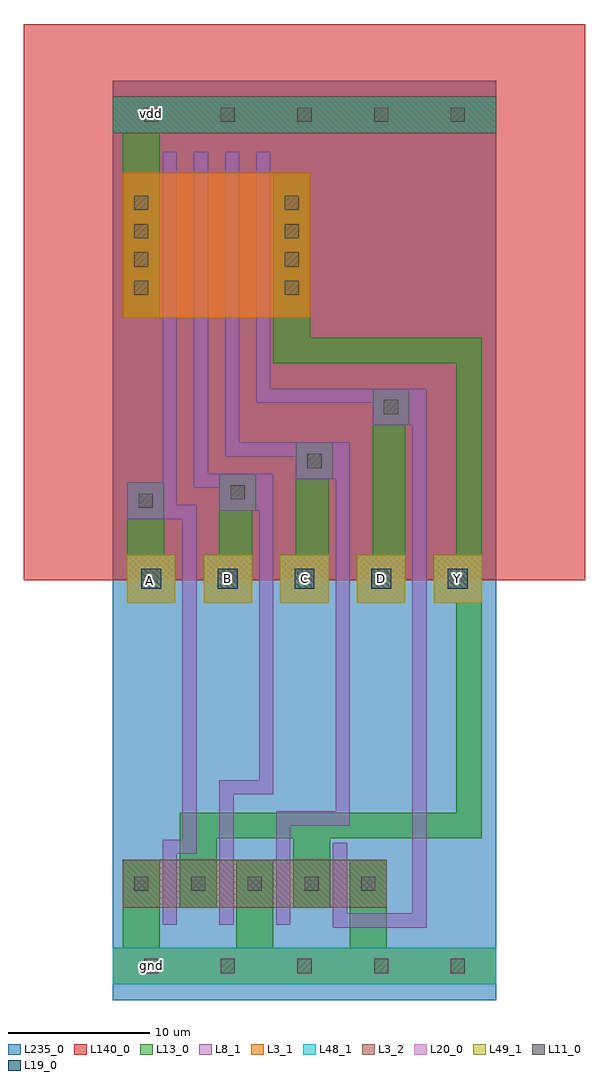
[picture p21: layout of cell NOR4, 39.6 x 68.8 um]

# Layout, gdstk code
import gdstk
lib = gdstk.Library(unit=1e-6, precision=1e-09)
def R(c, l, rs):  # rectangles x0, y0, x1, y1
    for r in rs: c.add(gdstk.rectangle(r[:2], r[2:], *l))
def A(c, l, x, y, w, h, nx, ny, dx, dy):  # array of equal rectangles
    R(c, l, [(x+i*dx, y+j*dy, x+i*dx+w, y+j*dy+h) for i in range(nx) for j in range(ny)])
def P(c, l, *ps):  # polygons
    for p in ps: c.add(gdstk.Polygon(p, *l))
L3_1 = (3, 1)
L3_2 = (3, 2)
L8_1 = (8, 1)
L11_0 = (11, 0)
L13_0 = (13, 0)
L19_0 = (19, 0)
L20_0 = (20, 0)
L48_1 = (48, 1)
L49_1 = (49, 1)
L140_0 = (140, 0)
L235_0 = (235, 0)

nor4 = lib.new_cell('NOR4')
R(nor4, L3_1, [(0,1.1,27,3.7), (0.7,48.1,13.9,58.3)])
R(nor4, L3_2, [(0.7,6.5,19.3,9.9), (0,61.1,27,63.7)])
P(nor4, L8_1, [(3.5,5.3),(3.5,11.3),(4.9,11.3),(4.9,33.9),(1,33.9),(1,36.5),(3.5,36.5),(3.5,59.8),(4.5,59.8),(4.5,34.9),(5.9,34.9),(5.9,10.3),(4.5,10.3),(4.5,5.3)],
  [(7.5,5.3),(7.5,15.5),(10.3,15.5),(10.3,34.5),(7.5,34.5),(7.5,36.1),(5.7,36.1),(5.7,59.8),(6.7,59.8),(6.7,37.1),(11.3,37.1),(11.3,14.5),(8.5,14.5),(8.5,5.3)],
  [(11.5,5.3),(11.5,13.3),(15.7,13.3),(15.7,36.7),(12.9,36.7),(12.9,38.3),(7.9,38.3),(7.9,59.8),(8.9,59.8),(8.9,39.3),(16.7,39.3),(16.7,12.3),(12.5,12.3),(12.5,5.3)],
  [(15.5,5.1),(15.5,11.1),(16.5,11.1),(16.5,6.1),(21.1,6.1),(21.1,40.5),(18.3,40.5),(18.3,42.1),(10.1,42.1),(10.1,59.8),(11.1,59.8),(11.1,43.1),(22.1,43.1),(22.1,5.1)])
A(nor4, L11_0, 7.6, 1.9, 1, 1, 4, 2, 5.4, 60)
A(nor4, L11_0, 1.5, 7.7, 1, 1, 5, 1, 4, 0)
A(nor4, L11_0, 1.5, 49.7, 1, 1, 1, 4, 0, 2)
A(nor4, L11_0, 12.1, 49.7, 1, 1, 1, 4, 0, 2)
R(nor4, L11_0, [(2.2,1.9,3.2,2.9), (7.6,1.9,8.6,2.9), (1.8,34.7,2.8,35.7), (8.3,35.3,9.3,36.3), (13.7,37.5,14.7,38.5), (19.1,41.3,20.1,42.3), (2.2,61.9,3.2,62.9), (2.2,61.9,3.2,62.9), (7.6,61.9,8.6,62.9), (7.6,61.9,8.6,62.9), (7.6,61.9,8.6,62.9)])
A(nor4, L13_0, 0.7, 3.7, 2.6, 6.2, 3, 1, 8, 0)
R(nor4, L13_0, [(0,1.1,27,3.7), (0.7,48.1,3.3,61.1), (0,61.1,27,63.7)])
P(nor4, L13_0, [(1,28),(1,36.5),(3.6,36.5),(3.6,31.4),(4.4,31.4),(4.4,28)],
  [(6.4,28),(6.4,31.4),(7.5,31.4),(7.5,37.1),(10.1,37.1),(10.1,34.5),(9.8,34.5),(9.8,28)],
  [(11.8,28),(11.8,31.4),(12.9,31.4),(12.9,39.3),(15.5,39.3),(15.5,36.7),(15.2,36.7),(15.2,28)],
  [(17.2,28),(17.2,31.4),(18.3,31.4),(18.3,43.1),(20.9,43.1),(20.9,40.5),(20.6,40.5),(20.6,28)],
  [(4.7,6.5),(4.7,13.2),(24.2,13.2),(24.2,28),(22.6,28),(22.6,31.4),(24.2,31.4),(24.2,44.9),(11.3,44.9),(11.3,58.3),(13.9,58.3),(13.9,46.7),(26,46.7),(26,11.4),(15.3,11.4),(15.3,6.5),(12.7,6.5),(12.7,11.4),(7.3,11.4),(7.3,6.5)])
A(nor4, L19_0, 2, 29, 1.4, 1.4, 5, 1, 5.4, 0)
A(nor4, L20_0, 1, 28, 3.4, 3.4, 5, 1, 5.4, 0)
R(nor4, L48_1, [(0,1.1,27,3.7), (0,61.1,27,63.7)])
A(nor4, L49_1, 1, 28, 3.4, 3.4, 5, 1, 5.4, 0)
R(nor4, L140_0, [(-6.3,29.6,33.3,68.8)])
R(nor4, L235_0, [(0,0,27,64.8)])
nor4.add(gdstk.Label('Y', (24.3,29.7), layer=49, texttype=0))
nor4.add(gdstk.Label('C', (13.5,29.7), layer=49, texttype=0))
nor4.add(gdstk.Label('D', (18.9,29.7), layer=49, texttype=0))
nor4.add(gdstk.Label('A', (2.6,29.6), layer=49, texttype=0))
nor4.add(gdstk.Label('B', (8.1,29.7), layer=49, texttype=0))
nor4.add(gdstk.Label('gnd', (2.7,2.4), layer=48, texttype=0))
nor4.add(gdstk.Label('vdd', (2.7,62.5), layer=48, texttype=0))

lib.write_gds('NOR4.gds')
